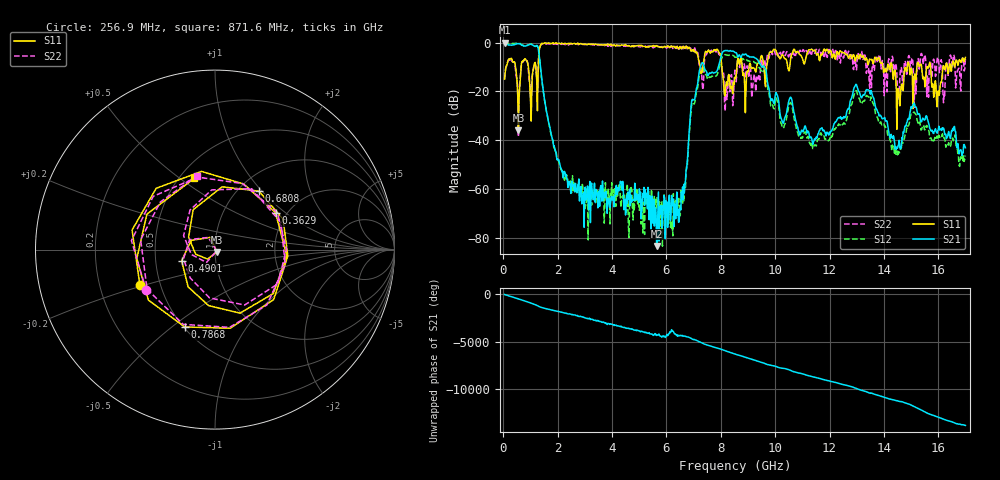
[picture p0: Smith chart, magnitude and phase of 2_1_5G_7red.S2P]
! C:\Users\LSO\Desktop\2_1_5G_7red.S2P
! Touchstone 1.1 file saved by VNA.EXE V1.65 (www.ke5fx.com/gpib/readme.htm)
! 2. 04. 2024 10:02:51
!  Source: HP8510C.07.14: Aug 26  1998
!  Min freq: 4.500000E+007 Hz
!  Max freq: 1.700000E+010 Hz
!  Points: 801
!  Params: S11 S21 S12 S22
# GHZ S DB R 50
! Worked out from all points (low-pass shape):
!   801 points, 45 MHz to 17 GHz, reference 50 ohm
!   highest |S21| = -0.10 dB at 45 MHz (marker M1); lowest = -83.2 dB at 5.64 GHz (marker M2)
!   |S21| within 3 dB of the highest: start of sweep to 1.293 GHz
!   lowest |S11| = -35.8 dB at 553.6 MHz (marker M3), VSWR 1.03, Z = 50.9 - j1.36 ohm
!   |S11| at or under -10 dB: 8.039 GHz to 8.591 GHz (552.7 MHz wide, 6.65 % of centre); 14.31 GHz to 14.86 GHz (555.9 MHz wide, 3.81 % of centre); 15.72 GHz to 16.18 GHz (459.9 MHz wide, 2.88 % of centre)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
!   |S22| runs from -38.6 to -0.3 dB; largest |S21 - S12| = 1.9
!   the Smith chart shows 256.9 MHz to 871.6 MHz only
!   S11 on the Smith chart (normalised r, x): 256.9 MHz: 0.38, -0.19; 362.9 MHz: 1.75, +0.85; 490.1 MHz: 0.68, -0.09; 680.8 MHz: 1.23, +0.96; 786.8 MHz: 0.51, -0.56; 871.6 MHz: 0.59, +0.57
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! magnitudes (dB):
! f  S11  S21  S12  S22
! 45 MHz  -14.9  -0.1  0.9  -14.8
! 256.9 MHz  -6.7  -1.0  -0.4  -7.0
! 362.9 MHz  -8.1  -1.0  -0.4  -7.9
! 490.1 MHz  -14.2  -0.5  -0.3  -14.8
! 553.6 MHz  -35.8  -0.4  -0.2  -38.6
! 680.8 MHz  -7.8  -1.1  -1.0  -8.1
! 786.8 MHz  -6.7  -1.4  -1.4  -6.9
! 871.6 MHz  -7.7  -1.2  -1.1  -7.5
! 1.253 GHz  -27.9  -1.3  -1.5  -20.3
! 2.164 GHz  -0.3  -53.1  -52.2  -0.7
! 2.885 GHz  -0.6  -66.0  -62.5  -0.8
! 5.64 GHz  -1.2  -83.2  -65.3  -2.1
! 5.704 GHz  -1.7  -61.1  -64.2  -1.6
! 6.488 GHz  -1.7  -67.9  -66.7  -2.4
! 7.272 GHz  -12.7  -9.2  -10.8  -10.4
! 8.523 GHz  -14.1  -4.0  -6.0  -11.2
! 11.36 GHz  -2.9  -40.2  -42.3  -3.8
! 12.97 GHz  -6.7  -17.1  -19.6  -10.5
! 14.18 GHz  -9.6  -36.8  -39.0  -6.6
! 14.54 GHz  -18.9  -41.8  -44.5  -22.1
! 15.09 GHz  -19.6  -25.2  -28.5  -14.2
! 17 GHz  -6.1  -43.1  -46.3  -6.8
